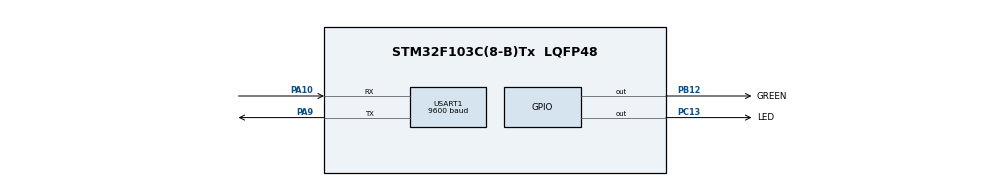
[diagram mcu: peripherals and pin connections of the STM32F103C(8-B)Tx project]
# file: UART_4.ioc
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Mcu.Family=STM32F1
Mcu.Name=STM32F103C(8-B)Tx
Mcu.Package=LQFP48
NVIC.PriorityGroup=NVIC_PRIORITYGROUP_4
PA10.Mode=Asynchronous
PA10.Signal=USART1_RX
PA13.Mode=Serial_Wire
PA13.Signal=SYS_JTMS-SWDIO
PA14.Mode=Serial_Wire
PA14.Signal=SYS_JTCK-SWCLK
PA9.Mode=Asynchronous
PA9.Signal=USART1_TX
PB12.GPIO_Label=GREEN
PB12.Signal=GPIO_Output
PC13-TAMPER-RTC.GPIO_Label=LED
PC13-TAMPER-RTC.Signal=GPIO_Output
PD0-OSC_IN.Mode=HSE-External-Oscillator
PD0-OSC_IN.Signal=RCC_OSC_IN
PD1-OSC_OUT.Mode=HSE-External-Oscillator
PD1-OSC_OUT.Signal=RCC_OSC_OUT
ProjectManager.HeapSize=0x200
ProjectManager.StackSize=0x400
ProjectManager.TargetToolchain=STM32CubeIDE
RCC.APB1Freq_Value=8000000
RCC.APB2Freq_Value=8000000
RCC.HSICalibrationValue=8
RCC.PLLSourceVirtual=RCC_PLLSOURCE_HSE
RCC.SYSCLKSource=RCC_SYSCLKSOURCE_HSE
RCC.USBFreq_Value=16000000
USART1.BaudRate=9600
USART1.VirtualMode=VM_ASYNC
board=custom

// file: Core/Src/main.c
/* USER CODE BEGIN Header */
/**
  ******************************************************************************
  * @file           : main.c
  * @brief          : Main program body
  ******************************************************************************
  * @attention
  *
  * Copyright (c) 2023 STMicroelectronics.
  * All rights reserved.
  *
  * This software is licensed under terms that can be found in the LICENSE file
  * in the root directory of this software component.
  * If no LICENSE file comes with this software, it is provided AS-IS.
  *
  ******************************************************************************
  */
/* USER CODE END Header */
#include "main.h"
#include <string.h>

UART_HandleTypeDef huart1;

void SystemClock_Config(void);
static void MX_GPIO_Init(void);
static void MX_USART1_UART_Init(void);

int main(void)
{

  /* MCU Configuration--------------------------------------------------------*/

  /* Reset of all peripherals, Initializes the Flash interface and the Systick. */
  HAL_Init();

  /* Configure the system clock */
  SystemClock_Config();

  /* Initialize all configured peripherals */
  MX_GPIO_Init();
  MX_USART1_UART_Init();
  /* USER CODE BEGIN 2 */
  char hello[] = "Hello World\r\n";
  char prompt[] = "> Please enter your name: ";
  char rxByte[1];
  char txBuffer[32];
  char name[16];

  /* USER CODE END 2 */

  /* Infinite loop */
  /* USER CODE BEGIN WHILE */
  HAL_UART_Transmit(&huart1	, hello, sizeof(hello), HAL_MAX_DELAY);
  int i = 0;
  HAL_UART_Transmit(&huart1	, prompt, sizeof(prompt), HAL_MAX_DELAY);

  while (1){

	  HAL_UART_Receive(&huart1, rxByte, sizeof(rxByte), HAL_MAX_DELAY);

	  if(rxByte[0] == '\r'){ // decimal 13 = '\r'
		  HAL_UART_Transmit(&huart1	, " ->CR pressed!\r\n", 16, HAL_MAX_DELAY);
		  sprintf(txBuffer, "Hello %s [%d chars]\r\n\r\n",name, i);
		  HAL_UART_Transmit(&huart1	, txBuffer, sizeof(txBuffer), HAL_MAX_DELAY);
		  break;
	  }

	  HAL_UART_Transmit(&huart1	, rxByte, sizeof(rxByte), HAL_MAX_DELAY); // transmit if not CR
	  name[i] = rxByte[0]; // store each char into name array
	  i++;
	  //if(i>15) break;
  }

  while (1)
  {
    /* USER CODE END WHILE */

	  HAL_GPIO_TogglePin(GREEN_GPIO_Port, GREEN_Pin);
	  HAL_Delay(500);
  }
}

void SystemClock_Config(void)
{
  RCC_OscInitTypeDef RCC_OscInitStruct = {0};
  RCC_ClkInitTypeDef RCC_ClkInitStruct = {0};

  /** Initializes the RCC Oscillators according to the specified parameters
  * in the RCC_OscInitTypeDef structure.
  */
  RCC_OscInitStruct.OscillatorType = RCC_OSCILLATORTYPE_HSE;
  RCC_OscInitStruct.HSEState = RCC_HSE_ON;
  RCC_OscInitStruct.PLL.PLLState = RCC_PLL_NONE;
  if (HAL_RCC_OscConfig(&RCC_OscInitStruct) != HAL_OK)
  {
    Error_Handler();
  }

  /** Initializes the CPU, AHB and APB buses clocks
  */
  RCC_ClkInitStruct.ClockType = RCC_CLOCKTYPE_HCLK|RCC_CLOCKTYPE_SYSCLK
                              |RCC_CLOCKTYPE_PCLK1|RCC_CLOCKTYPE_PCLK2;
  RCC_ClkInitStruct.SYSCLKSource = RCC_SYSCLKSOURCE_HSE;
  RCC_ClkInitStruct.AHBCLKDivider = RCC_SYSCLK_DIV1;
  RCC_ClkInitStruct.APB1CLKDivider = RCC_HCLK_DIV1;
  RCC_ClkInitStruct.APB2CLKDivider = RCC_HCLK_DIV1;

  if (HAL_RCC_ClockConfig(&RCC_ClkInitStruct, FLASH_LATENCY_0) != HAL_OK)
  {
    Error_Handler();
  }
}

static void MX_USART1_UART_Init(void)
{

  huart1.Instance = USART1;
  huart1.Init.BaudRate = 9600;
  huart1.Init.WordLength = UART_WORDLENGTH_8B;
  huart1.Init.StopBits = UART_STOPBITS_1;
  huart1.Init.Parity = UART_PARITY_NONE;
  huart1.Init.Mode = UART_MODE_TX_RX;
  huart1.Init.HwFlowCtl = UART_HWCONTROL_NONE;
  huart1.Init.OverSampling = UART_OVERSAMPLING_16;
  if (HAL_UART_Init(&huart1) != HAL_OK)
  {
    Error_Handler();
  }

}

static void MX_GPIO_Init(void)
{
  GPIO_InitTypeDef GPIO_InitStruct = {0};

  /* GPIO Ports Clock Enable */
  __HAL_RCC_GPIOC_CLK_ENABLE();
  __HAL_RCC_GPIOD_CLK_ENABLE();
  __HAL_RCC_GPIOB_CLK_ENABLE();
  __HAL_RCC_GPIOA_CLK_ENABLE();

  /*Configure GPIO pin Output Level */
  HAL_GPIO_WritePin(LED_GPIO_Port, LED_Pin, GPIO_PIN_RESET);

  /*Configure GPIO pin Output Level */
  HAL_GPIO_WritePin(GREEN_GPIO_Port, GREEN_Pin, GPIO_PIN_RESET);

  /*Configure GPIO pin : LED_Pin */
  GPIO_InitStruct.Pin = LED_Pin;
  GPIO_InitStruct.Mode = GPIO_MODE_OUTPUT_PP;
  GPIO_InitStruct.Pull = GPIO_NOPULL;
  GPIO_InitStruct.Speed = GPIO_SPEED_FREQ_LOW;
  HAL_GPIO_Init(LED_GPIO_Port, &GPIO_InitStruct);

  /*Configure GPIO pin : GREEN_Pin */
  GPIO_InitStruct.Pin = GREEN_Pin;
  GPIO_InitStruct.Mode = GPIO_MODE_OUTPUT_PP;
  GPIO_InitStruct.Pull = GPIO_NOPULL;
  GPIO_InitStruct.Speed = GPIO_SPEED_FREQ_LOW;
  HAL_GPIO_Init(GREEN_GPIO_Port, &GPIO_InitStruct);

}

void Error_Handler(void)
{
  __disable_irq();
  while (1)
  {
  }
}
